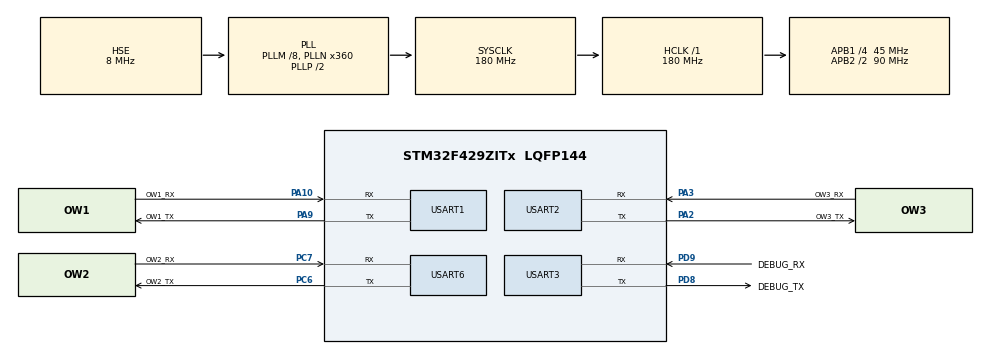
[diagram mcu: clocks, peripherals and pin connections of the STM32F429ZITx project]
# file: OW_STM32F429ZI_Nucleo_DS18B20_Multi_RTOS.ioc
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Dma.Request0=USART1_RX
Dma.Request1=USART1_TX
Dma.Request2=USART2_RX
Dma.Request3=USART2_TX
Dma.Request4=USART6_RX
Dma.Request5=USART6_TX
Dma.USART1_RX.0.Direction=DMA_PERIPH_TO_MEMORY
Dma.USART1_RX.0.FIFOMode=DMA_FIFOMODE_DISABLE
Dma.USART1_RX.0.Instance=DMA2_Stream2
Dma.USART1_RX.0.MemDataAlignment=DMA_MDATAALIGN_BYTE
Dma.USART1_RX.0.MemInc=DMA_MINC_ENABLE
Dma.USART1_RX.0.Mode=DMA_NORMAL
Dma.USART1_RX.0.PeriphDataAlignment=DMA_PDATAALIGN_BYTE
Dma.USART1_RX.0.PeriphInc=DMA_PINC_DISABLE
Dma.USART1_RX.0.Priority=DMA_PRIORITY_LOW
Dma.USART1_TX.1.Direction=DMA_MEMORY_TO_PERIPH
Dma.USART1_TX.1.FIFOMode=DMA_FIFOMODE_DISABLE
Dma.USART1_TX.1.Instance=DMA2_Stream7
Dma.USART1_TX.1.MemDataAlignment=DMA_MDATAALIGN_BYTE
Dma.USART1_TX.1.MemInc=DMA_MINC_ENABLE
Dma.USART1_TX.1.Mode=DMA_NORMAL
Dma.USART1_TX.1.PeriphDataAlignment=DMA_PDATAALIGN_BYTE
Dma.USART1_TX.1.PeriphInc=DMA_PINC_DISABLE
Dma.USART1_TX.1.Priority=DMA_PRIORITY_LOW
Dma.USART2_RX.2.Direction=DMA_PERIPH_TO_MEMORY
Dma.USART2_RX.2.FIFOMode=DMA_FIFOMODE_DISABLE
Dma.USART2_RX.2.Instance=DMA1_Stream5
Dma.USART2_RX.2.MemDataAlignment=DMA_MDATAALIGN_BYTE
Dma.USART2_RX.2.MemInc=DMA_MINC_ENABLE
Dma.USART2_RX.2.Mode=DMA_NORMAL
Dma.USART2_RX.2.PeriphDataAlignment=DMA_PDATAALIGN_BYTE
Dma.USART2_RX.2.PeriphInc=DMA_PINC_DISABLE
Dma.USART2_RX.2.Priority=DMA_PRIORITY_LOW
Dma.USART2_TX.3.Direction=DMA_MEMORY_TO_PERIPH
Dma.USART2_TX.3.FIFOMode=DMA_FIFOMODE_DISABLE
Dma.USART2_TX.3.Instance=DMA1_Stream6
Dma.USART2_TX.3.MemDataAlignment=DMA_MDATAALIGN_BYTE
Dma.USART2_TX.3.MemInc=DMA_MINC_ENABLE
Dma.USART2_TX.3.Mode=DMA_NORMAL
Dma.USART2_TX.3.PeriphDataAlignment=DMA_PDATAALIGN_BYTE
Dma.USART2_TX.3.PeriphInc=DMA_PINC_DISABLE
Dma.USART2_TX.3.Priority=DMA_PRIORITY_LOW
Dma.USART6_RX.4.Direction=DMA_PERIPH_TO_MEMORY
Dma.USART6_RX.4.FIFOMode=DMA_FIFOMODE_DISABLE
Dma.USART6_RX.4.Instance=DMA2_Stream1
Dma.USART6_RX.4.MemDataAlignment=DMA_MDATAALIGN_BYTE
Dma.USART6_RX.4.MemInc=DMA_MINC_ENABLE
Dma.USART6_RX.4.Mode=DMA_NORMAL
Dma.USART6_RX.4.PeriphDataAlignment=DMA_PDATAALIGN_BYTE
Dma.USART6_RX.4.PeriphInc=DMA_PINC_DISABLE
Dma.USART6_RX.4.Priority=DMA_PRIORITY_LOW
Dma.USART6_TX.5.Direction=DMA_MEMORY_TO_PERIPH
Dma.USART6_TX.5.FIFOMode=DMA_FIFOMODE_DISABLE
Dma.USART6_TX.5.Instance=DMA2_Stream6
Dma.USART6_TX.5.MemDataAlignment=DMA_MDATAALIGN_BYTE
Dma.USART6_TX.5.MemInc=DMA_MINC_ENABLE
Dma.USART6_TX.5.Mode=DMA_NORMAL
Dma.USART6_TX.5.PeriphDataAlignment=DMA_PDATAALIGN_BYTE
Dma.USART6_TX.5.PeriphInc=DMA_PINC_DISABLE
Dma.USART6_TX.5.Priority=DMA_PRIORITY_LOW
FREERTOS.Tasks01=ow_task,24,256,start_ow_task,Default,NULL,Dynamic,NULL,NULL
FREERTOS.configMINIMAL_STACK_SIZE=256
Mcu.Family=STM32F4
Mcu.Name=STM32F429ZITx
Mcu.Package=LQFP144
NVIC.DMA1_Stream5_IRQn=true\:5\:0\:false\:false\:true\:true\:false\:true
NVIC.DMA1_Stream6_IRQn=true\:5\:0\:false\:false\:true\:true\:false\:true
NVIC.DMA2_Stream1_IRQn=true\:5\:0\:false\:false\:true\:true\:false\:true
NVIC.DMA2_Stream2_IRQn=true\:5\:0\:false\:false\:true\:true\:false\:true
NVIC.DMA2_Stream6_IRQn=true\:5\:0\:false\:false\:true\:true\:false\:true
NVIC.DMA2_Stream7_IRQn=true\:5\:0\:false\:false\:true\:true\:false\:true
NVIC.PriorityGroup=NVIC_PRIORITYGROUP_4
NVIC.TIM6_DAC_IRQn=true\:0\:0\:false\:false\:true\:false\:false\:true
NVIC.TimeBase=TIM6_DAC_IRQn
NVIC.TimeBaseIP=TIM6
NVIC.USART1_IRQn=true\:5\:0\:false\:false\:true\:true\:true\:true
NVIC.USART2_IRQn=true\:5\:0\:false\:false\:true\:true\:true\:true
NVIC.USART3_IRQn=true\:5\:0\:false\:false\:true\:true\:true\:true
NVIC.USART6_IRQn=true\:5\:0\:false\:false\:true\:true\:true\:true
PA10.GPIO_Label=OW1_RX
PA10.Mode=Asynchronous
PA10.Signal=USART1_RX
PA2.GPIO_Label=OW3_TX
PA2.Mode=Asynchronous
PA2.Signal=USART2_TX
PA3.GPIO_Label=OW3_RX
PA3.Mode=Asynchronous
PA3.Signal=USART2_RX
PA9.GPIO_Label=OW1_TX
PA9.Mode=Asynchronous
PA9.Signal=USART1_TX
PC6.GPIO_Label=OW2_TX
PC6.Mode=Asynchronous
PC6.Signal=USART6_TX
PC7.GPIO_Label=OW2_RX
PC7.Mode=Asynchronous
PC7.Signal=USART6_RX
PD8.GPIO_Label=DEBUG_TX
PD8.Mode=Asynchronous
PD8.Signal=USART3_TX
PD9.GPIO_Label=DEBUG_RX
PD9.Mode=Asynchronous
PD9.Signal=USART3_RX
PH0/OSC_IN.Mode=HSE-External-Clock-Source
PH0/OSC_IN.Signal=RCC_OSC_IN
PH1/OSC_OUT.Mode=HSE-External-Clock-Source
PH1/OSC_OUT.Signal=RCC_OSC_OUT
ProjectManager.HeapSize=0x200
ProjectManager.StackSize=0x400
ProjectManager.TargetToolchain=STM32CubeIDE
RCC.48MHZClocksFreq_Value=120000000
RCC.AHBFreq_Value=180000000
RCC.APB1CLKDivider=RCC_HCLK_DIV4
RCC.APB1Freq_Value=45000000
RCC.APB1TimFreq_Value=90000000
RCC.APB2CLKDivider=RCC_HCLK_DIV2
RCC.APB2Freq_Value=90000000
RCC.APB2TimFreq_Value=180000000
RCC.CortexFreq_Value=180000000
RCC.HCLKFreq_Value=180000000
RCC.HSE_VALUE=8000000
RCC.HSI_VALUE=16000000
RCC.LSE_VALUE=32768
RCC.PLLM=8
RCC.PLLN=360
RCC.PLLQ=3
RCC.PLLSAIN=50
RCC.PLLSourceVirtual=RCC_PLLSOURCE_HSE
RCC.SYSCLKFreq_VALUE=180000000
RCC.SYSCLKSource=RCC_SYSCLKSOURCE_PLLCLK
RCC.VCOOutputFreq_Value=360000000
USART1.VirtualMode=VM_ASYNC
USART2.VirtualMode=VM_ASYNC
USART3.VirtualMode=VM_ASYNC
USART6.VirtualMode=VM_ASYNC
VP_FREERTOS_VS_CMSIS_V2.Mode=CMSIS_V2
VP_SYS_VS_tim6.Mode=TIM6
board=STM32F429I-DISC1

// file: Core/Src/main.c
/* USER CODE BEGIN Header */
/**
  ******************************************************************************
  * @file           : main.c
  * @brief          : Main program body
  ******************************************************************************
  * @attention
  *
  * <h2><center>&copy; Copyright (c) 2020 STMicroelectronics.
  * All rights reserved.</center></h2>
  *
  * This software component is licensed by ST under Ultimate Liberty license
  * SLA0044, the "License"; You may not use this file except in compliance with
  * the License. You may obtain a copy of the License at:
  *                             www.st.com/SLA0044
  *
  ******************************************************************************
  */
/* USER CODE END Header */

#include "main.h"
#include "cmsis_os.h"

/* USER CODE BEGIN Includes */
#include "lwow/lwow.h"
#include "scan_devices.h"
#include <stdio.h>
#include <stdarg.h>
/* USER CODE END Includes */

UART_HandleTypeDef huart1;
UART_HandleTypeDef huart2;
UART_HandleTypeDef huart3;
UART_HandleTypeDef huart6;
DMA_HandleTypeDef hdma_usart1_rx;
DMA_HandleTypeDef hdma_usart1_tx;
DMA_HandleTypeDef hdma_usart2_rx;
DMA_HandleTypeDef hdma_usart2_tx;
DMA_HandleTypeDef hdma_usart6_rx;
DMA_HandleTypeDef hdma_usart6_tx;

/* Definitions for lwow_task */
osThreadId_t lwow_taskHandle;
const osThreadAttr_t lwow_task_attributes = {
  .name = "lwow_task",
  .priority = (osPriority_t) osPriorityNormal,
  .stack_size = 256 * 4
};
/* USER CODE BEGIN PV */

/* Custom structure for link between onewire and uarts */
typedef struct {
    lwow_t ow;
    UART_HandleTypeDef* uart;
    const char* label;
} ow_uart_link_t;

/* Make links between ow and uart */
static ow_uart_link_t ow_uart_links[] = {
        { .uart = &huart1, .label = "OW on UART1" },
        { .uart = &huart2, .label = "OW on UART2" },
        { .uart = &huart6, .label = "OW on UART6" },
};

/* Use extern low-level for OW using HAL */
extern const lwow_ll_drv_t lwow_ll_drv_stm32_hal;
/* USER CODE END PV */

void SystemClock_Config(void);
static void MX_GPIO_Init(void);
static void MX_DMA_Init(void);
static void MX_USART1_UART_Init(void);
static void MX_USART2_UART_Init(void);
static void MX_USART3_UART_Init(void);
static void MX_USART6_UART_Init(void);
void start_lwow_task(void *argument);

/* USER CODE BEGIN 0 */

/* Simple printf with kernel locking */
void
safeprintf(const char* fmt, ...) {
    va_list va;

    va_start(va, fmt);
    osKernelLock();
    vprintf(fmt, va);
    osKernelUnlock();
    va_end(va);
}
/* USER CODE END 0 */

int main(void)
{

  /* MCU Configuration--------------------------------------------------------*/

  /* Reset of all peripherals, Initializes the Flash interface and the Systick. */
  HAL_Init();

  /* Configure the system clock */
  SystemClock_Config();

  /* Initialize all configured peripherals */
  MX_GPIO_Init();
  MX_DMA_Init();
  MX_USART1_UART_Init();
  MX_USART2_UART_Init();
  MX_USART3_UART_Init();
  MX_USART6_UART_Init();
  /* USER CODE BEGIN 2 */
  printf("Application running on STM32F429ZI-Nucleo board!\r\n");
  /* USER CODE END 2 */

  /* Init scheduler */
  osKernelInitialize();

  /* Create the thread(s) */
  /* creation of lwow_task */
  lwow_taskHandle = osThreadNew(start_lwow_task, NULL, &lwow_task_attributes);

  /* USER CODE BEGIN RTOS_THREADS */
  /* add threads, ... */

  /*
   * Start multiple thread context entries, for each of OW instances
   */
  for (size_t i = 0; i < sizeof(ow_uart_links) / sizeof(ow_uart_links[0]); ++i) {
      osThreadNew(start_lwow_task, &ow_uart_links[i], &lwow_task_attributes);
  }

  /* USER CODE END RTOS_THREADS */

  /* Start scheduler */
  osKernelStart();

  /* We should never get here as control is now taken by the scheduler */
  /* Infinite loop */
  while (1)
  {

  }
}

void SystemClock_Config(void)
{
  RCC_OscInitTypeDef RCC_OscInitStruct = {0};
  RCC_ClkInitTypeDef RCC_ClkInitStruct = {0};

  /** Configure the main internal regulator output voltage
  */
  __HAL_RCC_PWR_CLK_ENABLE();
  __HAL_PWR_VOLTAGESCALING_CONFIG(PWR_REGULATOR_VOLTAGE_SCALE1);
  /** Initializes the CPU, AHB and APB busses clocks
  */
  RCC_OscInitStruct.OscillatorType = RCC_OSCILLATORTYPE_HSE;
  RCC_OscInitStruct.HSEState = RCC_HSE_BYPASS;
  RCC_OscInitStruct.PLL.PLLState = RCC_PLL_ON;
  RCC_OscInitStruct.PLL.PLLSource = RCC_PLLSOURCE_HSE;
  RCC_OscInitStruct.PLL.PLLM = 8;
  RCC_OscInitStruct.PLL.PLLN = 360;
  RCC_OscInitStruct.PLL.PLLP = RCC_PLLP_DIV2;
  RCC_OscInitStruct.PLL.PLLQ = 3;
  if (HAL_RCC_OscConfig(&RCC_OscInitStruct) != HAL_OK)
  {
    Error_Handler();
  }
  /** Activate the Over-Drive mode
  */
  if (HAL_PWREx_EnableOverDrive() != HAL_OK)
  {
    Error_Handler();
  }
  /** Initializes the CPU, AHB and APB busses clocks
  */
  RCC_ClkInitStruct.ClockType = RCC_CLOCKTYPE_HCLK|RCC_CLOCKTYPE_SYSCLK
                              |RCC_CLOCKTYPE_PCLK1|RCC_CLOCKTYPE_PCLK2;
  RCC_ClkInitStruct.SYSCLKSource = RCC_SYSCLKSOURCE_PLLCLK;
  RCC_ClkInitStruct.AHBCLKDivider = RCC_SYSCLK_DIV1;
  RCC_ClkInitStruct.APB1CLKDivider = RCC_HCLK_DIV4;
  RCC_ClkInitStruct.APB2CLKDivider = RCC_HCLK_DIV2;

  if (HAL_RCC_ClockConfig(&RCC_ClkInitStruct, FLASH_LATENCY_5) != HAL_OK)
  {
    Error_Handler();
  }
}

static void MX_USART1_UART_Init(void)
{

  huart1.Instance = USART1;
  huart1.Init.BaudRate = 115200;
  huart1.Init.WordLength = UART_WORDLENGTH_8B;
  huart1.Init.StopBits = UART_STOPBITS_1;
  huart1.Init.Parity = UART_PARITY_NONE;
  huart1.Init.Mode = UART_MODE_TX_RX;
  huart1.Init.HwFlowCtl = UART_HWCONTROL_NONE;
  huart1.Init.OverSampling = UART_OVERSAMPLING_16;
  if (HAL_UART_Init(&huart1) != HAL_OK)
  {
    Error_Handler();
  }

}

static void MX_USART2_UART_Init(void)
{

  huart2.Instance = USART2;
  huart2.Init.BaudRate = 115200;
  huart2.Init.WordLength = UART_WORDLENGTH_8B;
  huart2.Init.StopBits = UART_STOPBITS_1;
  huart2.Init.Parity = UART_PARITY_NONE;
  huart2.Init.Mode = UART_MODE_TX_RX;
  huart2.Init.HwFlowCtl = UART_HWCONTROL_NONE;
  huart2.Init.OverSampling = UART_OVERSAMPLING_16;
  if (HAL_UART_Init(&huart2) != HAL_OK)
  {
    Error_Handler();
  }

}

static void MX_USART3_UART_Init(void)
{

  huart3.Instance = USART3;
  huart3.Init.BaudRate = 115200;
  huart3.Init.WordLength = UART_WORDLENGTH_8B;
  huart3.Init.StopBits = UART_STOPBITS_1;
  huart3.Init.Parity = UART_PARITY_NONE;
  huart3.Init.Mode = UART_MODE_TX_RX;
  huart3.Init.HwFlowCtl = UART_HWCONTROL_NONE;
  huart3.Init.OverSampling = UART_OVERSAMPLING_16;
  if (HAL_UART_Init(&huart3) != HAL_OK)
  {
    Error_Handler();
  }

}

static void MX_USART6_UART_Init(void)
{

  huart6.Instance = USART6;
  huart6.Init.BaudRate = 115200;
  huart6.Init.WordLength = UART_WORDLENGTH_8B;
  huart6.Init.StopBits = UART_STOPBITS_1;
  huart6.Init.Parity = UART_PARITY_NONE;
  huart6.Init.Mode = UART_MODE_TX_RX;
  huart6.Init.HwFlowCtl = UART_HWCONTROL_NONE;
  huart6.Init.OverSampling = UART_OVERSAMPLING_16;
  if (HAL_UART_Init(&huart6) != HAL_OK)
  {
    Error_Handler();
  }

}

static void MX_DMA_Init(void)
{

  /* DMA controller clock enable */
  __HAL_RCC_DMA2_CLK_ENABLE();
  __HAL_RCC_DMA1_CLK_ENABLE();

  /* DMA interrupt init */
  /* DMA1_Stream5_IRQn interrupt configuration */
  HAL_NVIC_SetPriority(DMA1_Stream5_IRQn, 5, 0);
  HAL_NVIC_EnableIRQ(DMA1_Stream5_IRQn);
  /* DMA1_Stream6_IRQn interrupt configuration */
  HAL_NVIC_SetPriority(DMA1_Stream6_IRQn, 5, 0);
  HAL_NVIC_EnableIRQ(DMA1_Stream6_IRQn);
  /* DMA2_Stream1_IRQn interrupt configuration */
  HAL_NVIC_SetPriority(DMA2_Stream1_IRQn, 5, 0);
  HAL_NVIC_EnableIRQ(DMA2_Stream1_IRQn);
  /* DMA2_Stream2_IRQn interrupt configuration */
  HAL_NVIC_SetPriority(DMA2_Stream2_IRQn, 5, 0);
  HAL_NVIC_EnableIRQ(DMA2_Stream2_IRQn);
  /* DMA2_Stream6_IRQn interrupt configuration */
  HAL_NVIC_SetPriority(DMA2_Stream6_IRQn, 5, 0);
  HAL_NVIC_EnableIRQ(DMA2_Stream6_IRQn);
  /* DMA2_Stream7_IRQn interrupt configuration */
  HAL_NVIC_SetPriority(DMA2_Stream7_IRQn, 5, 0);
  HAL_NVIC_EnableIRQ(DMA2_Stream7_IRQn);

}

static void MX_GPIO_Init(void)
{

  /* GPIO Ports Clock Enable */
  __HAL_RCC_GPIOH_CLK_ENABLE();
  __HAL_RCC_GPIOA_CLK_ENABLE();
  __HAL_RCC_GPIOD_CLK_ENABLE();
  __HAL_RCC_GPIOC_CLK_ENABLE();

}

/* USER CODE BEGIN 4 */
/**
 * \brief           Printf character handler
 * \param[in]       ch: Character to send
 * \param[in]       f: File pointer
 * \return          Written character
 */
#ifdef __GNUC__
int __io_putchar(int ch) {
#else
int fputc(int ch, FILE* fil) {
#endif
    uint8_t c = (uint8_t)ch;
    HAL_UART_Transmit(&huart3, &c, 1, 100);
    return ch;
}
/* USER CODE END 4 */

void start_lwow_task(void *argument)
{
  /* USER CODE BEGIN 5 */
    #define ROM_IDS_SIZE                    10
    ow_uart_link_t* link = argument;
    lwow_rom_t* rom_ids;
    size_t rom_found;
    lwowr_t res;

    /* Disable default and unknown thread */
    if (link == NULL) {
        osThreadExit();
    }

    /* Print thread started status */
    safeprintf("[OW %s] Task started\r\n", link->label);

    /* Allocate memory for roms */
    rom_ids = pvPortMalloc(sizeof(*rom_ids) * ROM_IDS_SIZE);
    if (rom_ids == NULL) {
        safeprintf("[OW %s] Could not allocate rom_ids memory!\r\n", link->label);
        osThreadExit();
    }

    /* Initialize OW instance */
    res = lwow_init(&link->ow, &lwow_ll_drv_stm32_hal, link->uart);

    /* Initialize OW with UART instance as custom parameter */
    safeprintf("[OW %s] Init OW: %d\r\n", link->label, (int)res);

    /* Scan device procedure */
    do {
        if (scan_onewire_devices(&link->ow, rom_ids, ROM_IDS_SIZE, &rom_found) == lwowOK) {
            safeprintf("[OW %s] Devices scanned, found %d devices!\r\n", link->label, (int)rom_found);
        } else {
            safeprintf("[OW %s] Device scan error\r\n", link->label);
        }
        osDelay(3000);
    } while (1);
  /* USER CODE END 5 */
}

 /**
  * @brief  Period elapsed callback in non blocking mode
  * @note   This function is called  when TIM6 interrupt took place, inside
  * HAL_TIM_IRQHandler(). It makes a direct call to HAL_IncTick() to increment
  * a global variable "uwTick" used as application time base.
  * @param  htim : TIM handle
  * @retval None
  */
void HAL_TIM_PeriodElapsedCallback(TIM_HandleTypeDef *htim)
{
  if (htim->Instance == TIM6) {
    HAL_IncTick();
  }
}

void Error_Handler(void)
{
}

/************************ (C) COPYRIGHT STMicroelectronics *****END OF FILE****/
